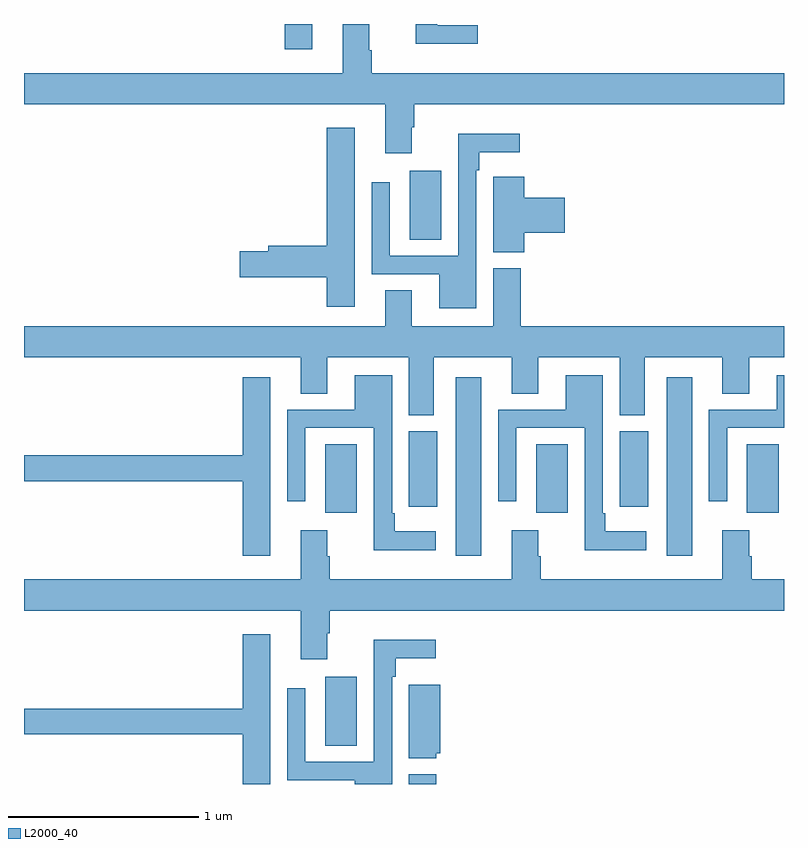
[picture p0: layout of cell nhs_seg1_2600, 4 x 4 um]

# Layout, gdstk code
import gdstk
lib = gdstk.Library(unit=1e-6, precision=1e-09)
def R(c, l, rs):  # rectangles x0, y0, x1, y1
    for r in rs: c.add(gdstk.rectangle(r[:2], r[2:], *l))
def A(c, l, x, y, w, h, nx, ny, dx, dy):  # array of equal rectangles
    R(c, l, [(x+i*dx, y+j*dy, x+i*dx+w, y+j*dy+h) for i in range(nx) for j in range(ny)])
def P(c, l, *ps):  # polygons
    for p in ps: c.add(gdstk.Polygon(p, *l))
L2000_40 = (2000, 40)

nhs_seg1_2600 = lib.new_cell('nhs_seg1_2600')
A(nhs_seg1_2600, L2000_40, 254.585, 505.626, 0.167, 0.362, 3, 1, 1.11, 0)
R(nhs_seg1_2600, L2000_40, [(255.026,504.199,255.17,504.25), (254.585,504.4,254.752,504.763), (255.272,505.401,255.406,506.341), (256.382,505.401,256.516,506.341), (255.026,505.659,255.175,506.055), (256.136,505.659,256.285,506.055), (255.029,507.064,255.196,507.427), (254.372,508.065,254.518,508.199)])
P(nhs_seg1_2600, L2000_40, [(255.388,508.192),(255.175,508.192),(255.175,508.199),(255.063,508.199),(255.063,508.094),(255.388,508.094)],
  [(255.04,507.656),(255.053,507.656),(255.053,507.776),(257,507.776),(257,507.94),(254.831,507.94),(254.831,508.061),(254.818,508.061),(254.818,508.198),(254.678,508.198),(254.678,507.94),(253,507.94),(253,507.776),(254.9,507.776),(254.9,507.519),(255.04,507.519)],
  [(254.74,507.652),(254.594,507.652),(254.594,507.032),(254.285,507.032),(254.285,507.002),(254.136,507.002),(254.136,506.867),(254.594,506.867),(254.594,506.712),(254.74,506.712)],
  [(255.381,507.428),(255.397,507.428),(255.397,507.524),(255.61,507.524),(255.61,507.622),(255.285,507.622),(255.285,506.979),(254.925,506.979),(254.925,507.367),(254.829,507.367),(254.829,506.883),(255.185,506.883),(255.185,506.702),(255.381,506.702)],
  [(255.632,507.101),(255.847,507.101),(255.847,507.284),(255.632,507.284),(255.632,507.394),(255.471,507.394),(255.471,507.281),(255.47,507.281),(255.47,506.998),(255.632,506.998)],
  [(255.614,506.913),(255.47,506.913),(255.47,506.608),(255.04,506.608),(255.04,506.798),(254.9,506.798),(254.9,506.608),(253,506.608),(253,506.444),(254.456,506.444),(254.456,506.254),(254.596,506.254),(254.596,506.444),(255.026,506.444),(255.026,506.14),(255.157,506.14),(255.157,506.444),(255.566,506.444),(255.566,506.254),(255.706,506.254),(255.706,506.444),(256.136,506.444),(256.136,506.14),(256.267,506.14),(256.267,506.444),(256.676,506.444),(256.676,506.254),(256.816,506.254),(256.816,506.444),(257,506.444),(257,506.608),(255.614,506.608)],
  [(256.701,506.073),(257,506.073),(257,506.35),(256.961,506.35),(256.961,506.169),(256.605,506.169),(256.605,505.686),(256.701,505.686)],
  [(255.166,505.528),(254.95,505.528),(254.95,505.624),(254.937,505.624),(254.937,506.35),(254.741,506.35),(254.741,506.169),(254.385,506.169),(254.385,505.686),(254.481,505.686),(254.481,506.073),(254.841,506.073),(254.841,505.43),(255.166,505.43)],
  [(256.276,505.528),(256.06,505.528),(256.06,505.624),(256.047,505.624),(256.047,506.35),(255.851,506.35),(255.851,506.169),(255.495,506.169),(255.495,505.686),(255.591,505.686),(255.591,506.073),(255.951,506.073),(255.951,505.43),(256.276,505.43)],
  [(254.296,506.341),(254.15,506.341),(254.15,505.928),(253,505.928),(253,505.792),(254.15,505.792),(254.15,505.401),(254.296,505.401)],
  [(254.596,504.992),(254.609,504.992),(254.609,505.112),(257,505.112),(257,505.276),(256.829,505.276),(256.829,505.397),(256.816,505.397),(256.816,505.534),(256.676,505.534),(256.676,505.276),(255.719,505.276),(255.719,505.397),(255.706,505.397),(255.706,505.534),(255.566,505.534),(255.566,505.276),(254.609,505.276),(254.609,505.397),(254.596,505.397),(254.596,505.534),(254.456,505.534),(254.456,505.276),(253,505.276),(253,505.112),(254.456,505.112),(254.456,504.855),(254.596,504.855)],
  [(254.296,504.988),(254.15,504.988),(254.15,504.596),(253,504.596),(253,504.46),(254.15,504.46),(254.15,504.199),(254.296,504.199)],
  [(254.937,504.764),(254.957,504.764),(254.957,504.86),(255.166,504.86),(255.166,504.958),(254.841,504.958),(254.841,504.315),(254.481,504.315),(254.481,504.703),(254.385,504.703),(254.385,504.219),(254.741,504.219),(254.741,504.199),(254.937,504.199)],
  [(255.171,504.36),(255.19,504.36),(255.19,504.721),(255.026,504.721),(255.026,504.335),(255.171,504.335)])

lib.write_gds('nhs_seg1_2600.gds')
